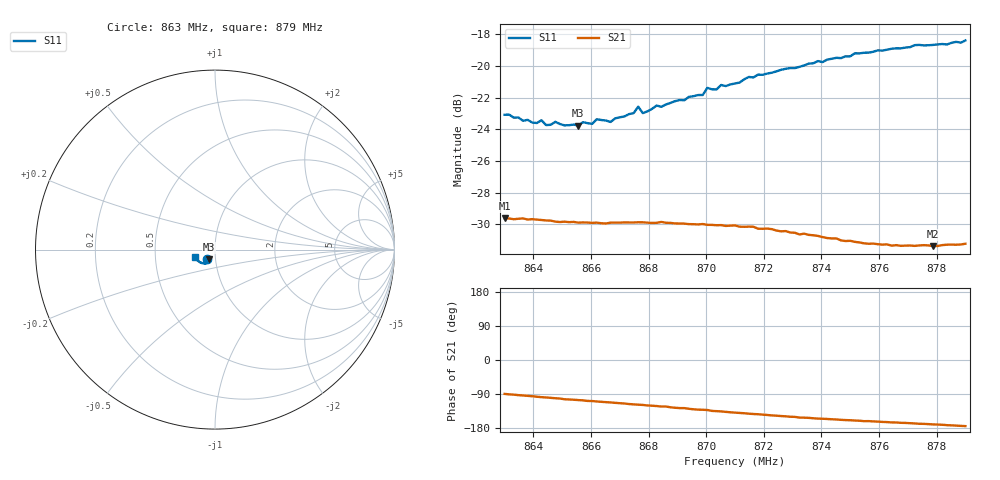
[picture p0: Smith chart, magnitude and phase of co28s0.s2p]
# HZ S RI R 50
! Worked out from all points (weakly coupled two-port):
!   101 points, 863 MHz to 879 MHz, reference 50 ohm
!   highest |S21| = -29.63 dB at 863 MHz (marker M1); lowest = -31.4 dB at 877.88 MHz (marker M2)
!   lowest |S11| = -23.8 dB at 865.56 MHz (marker M3), VSWR 1.14, Z = 46.4 - j5.1 ohm
!   |S11| at or under -10 dB: start of sweep to end of sweep
!   S12 and S22 are empty: the file has one direction only
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8.63e8  -0.0444 -0.0543  0.000324 -0.033  0 0  0 0
8.6396e8  -0.039 -0.0536  -0.00321 -0.0327  0 0  0 0
8.6428e8  -0.0391 -0.055  -0.00457 -0.0323  0 0  0 0
8.6444e8  -0.0376 -0.0531  -0.00502 -0.0321  0 0  0 0
8.6476e8  -0.038 -0.0547  -0.00609 -0.0316  0 0  0 0
8.6556e8  -0.0348 -0.0547  -0.00872 -0.0308  0 0  0 0
8.6572e8  -0.0344 -0.0569  -0.00907 -0.0307  0 0  0 0
8.6668e8  -0.0354 -0.0564  -0.012 -0.0297  0 0  0 0
8.6748e8  -0.033 -0.0629  -0.0146 -0.0285  0 0  0 0
8.6764e8  -0.0364 -0.0649  -0.015 -0.0283  0 0  0 0
8.678e8  -0.0329 -0.0629  -0.0154 -0.0281  0 0  0 0
8.6844e8  -0.0337 -0.0663  -0.0174 -0.027  0 0  0 0
8.6988e8  -0.0374 -0.0719  -0.0209 -0.0238  0 0  0 0
8.7004e8  -0.0423 -0.0741  -0.021 -0.0234  0 0  0 0
8.7036e8  -0.0427 -0.0729  -0.0222 -0.0222  0 0  0 0
8.7052e8  -0.0441 -0.0752  -0.0225 -0.0219  0 0  0 0
8.71e8  -0.0467 -0.0747  -0.0236 -0.0206  0 0  0 0
8.7148e8  -0.0509 -0.0771  -0.0244 -0.0193  0 0  0 0
8.7372e8  -0.0681 -0.076  -0.0262 -0.0129  0 0  0 0
8.7644e8  -0.0945 -0.0629  -0.0261 -0.00712  0 0  0 0
8.7788e8  -0.1056 -0.0496  -0.0265 -0.00468  0 0  0 0
8.79e8  -0.114 -0.0392  -0.0273 -0.00264  0 0  0 0
